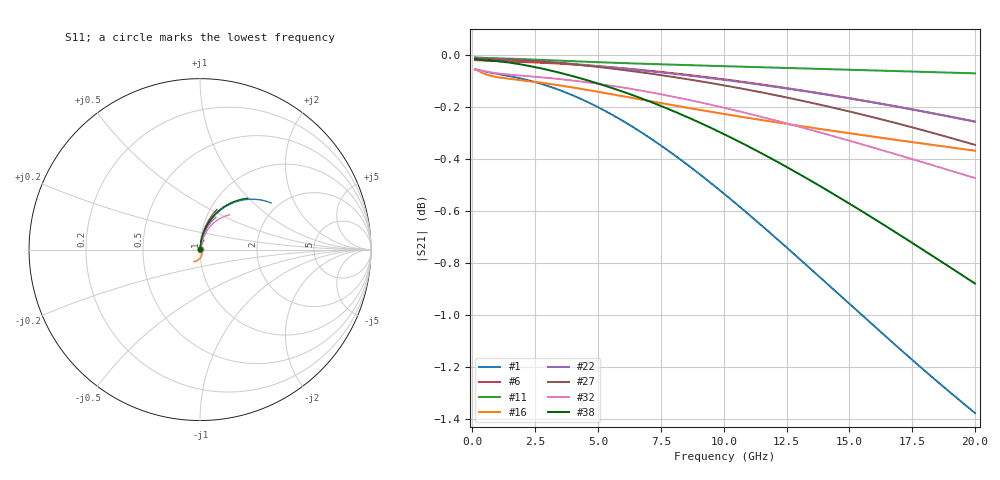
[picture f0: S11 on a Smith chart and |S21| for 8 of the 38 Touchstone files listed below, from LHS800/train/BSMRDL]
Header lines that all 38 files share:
! Touchstone file exported from HFSS 2026.1.0
!  Design:  BSMRDL
! Variables:
! Terminal data exported
# GHz S MA R 50.000000
Fixed: h_ox = 20um, h_rdl = 5um, h_sub = 80um, h_tmrdl = 5um, h_tsv = 80um, h_via = 3um, l_tmrdl = 200um, m_sub = 200um, r_tsv = 6um, s_tmrdl = 10um, w_sub = 500um, w_tmrdl = 12um, x_tsv_center1 = 206um
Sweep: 100 MHz to 20 GHz
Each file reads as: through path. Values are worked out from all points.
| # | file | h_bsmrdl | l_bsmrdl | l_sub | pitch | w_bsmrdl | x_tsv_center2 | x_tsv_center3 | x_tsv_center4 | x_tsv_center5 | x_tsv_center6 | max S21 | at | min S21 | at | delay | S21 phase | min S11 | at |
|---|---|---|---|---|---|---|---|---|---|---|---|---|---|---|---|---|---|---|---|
| 1 | dut860.s2p | 2.54um | 830.28um | 1230.28um | 46.02um | 19.18um | 1055.46um | 1267.46um | 2116.92um | 2328.92um | 3178.38um | -0.05 dB | 100 MHz | -1.4 dB | 20 GHz | 7.68 ps | -30 deg at 10.1 GHz | -42.9 dB | 100 MHz |
| 2 | dut861.s2p | 2.55um | 182.4um | 582.4um | 34.59um | 25.19um | 413.59um | 625.59um | 833.18um | 1045.18um | 1252.77um | -0.01 dB | 100 MHz | -0.1 dB | 20 GHz | 1.7 ps | -6 deg at 10.1 GHz | -56.8 dB | 100 MHz |
| 3 | dut862.s2p | 3.62um | 784.7um | 1184.7um | 20.04um | 17.98um | 1008.68um | 1220.68um | 2023.36um | 2235.36um | 3038.04um | -0.04 dB | 100 MHz | -0.4 dB | 20 GHz | 6.2 ps | -23 deg at 10.1 GHz | -46.9 dB | 100 MHz |
| 4 | dut863.s2p | 5.04um | 118.75um | 518.75um | 35.51um | 11.69um | 336.44um | 548.44um | 678.88um | 890.88um | 1021.32um | -0.01 dB | 100 MHz | -0.1 dB | 20 GHz | 1.42 ps | -5 deg at 10.1 GHz | -59.6 dB | 100 MHz |
| 5 | dut864.s2p | 2.96um | 553.23um | 953.23um | 32.63um | 22.12um | 781.35um | 993.35um | 1568.7um | 1780.7um | 2356.05um | -0.03 dB | 100 MHz | -0.3 dB | 20 GHz | 4.68 ps | -17 deg at 10.1 GHz | -49.0 dB | 100 MHz |
| 6 | dut865.s2p | 2.89um | 252.57um | 652.57um | 39.47um | 16.61um | 475.18um | 687.18um | 956.36um | 1168.36um | 1437.54um | -0.02 dB | 100 MHz | -0.3 dB | 20 GHz | 2.76 ps | -10 deg at 10.1 GHz | -52.4 dB | 100 MHz |
| 7 | dut866.s2p | 2.36um | 333.55um | 733.55um | 40.1um | 23.99um | 563.54um | 775.54um | 1133.08um | 1345.08um | 1702.62um | -0.02 dB | 100 MHz | -0.2 dB | 20 GHz | 3.2 ps | -12 deg at 10.1 GHz | -51.4 dB | 100 MHz |
| 8 | dut867.s2p | 2.37um | 921.18um | 1321.18um | 53.61um | 27.97um | 1155.15um | 1367.15um | 2316.3um | 2528.3um | 3477.45um | -0.05 dB | 100 MHz | -1.1 dB | 20 GHz | 8.18 ps | -32 deg at 10.1 GHz | -44.0 dB | 100 MHz |
| 9 | dut868.s2p | 4.22um | 467.93um | 867.93um | 33.89um | 14.4um | 688.33um | 900.33um | 1382.66um | 1594.66um | 2076.99um | -0.02 dB | 100 MHz | -0.5 dB | 20 GHz | 4.42 ps | -17 deg at 10.1 GHz | -49.4 dB | 100 MHz |
| 10 | dut869.s2p | 4.76um | 113.53um | 513.53um | 59.38um | 29.66um | 349.19um | 561.19um | 704.38um | 916.38um | 1059.57um | 0.00 dB | 100 MHz | -0.1 dB | 20 GHz | 1.49 ps | -5 deg at 10.1 GHz | -62.2 dB | 100 MHz |
| 11 | dut870.s2p | 5.74um | 274.75um | 674.75um | 36.53um | 26.68um | 507.43um | 719.43um | 1020.86um | 1232.86um | 1534.29um | -0.01 dB | 100 MHz | -0.1 dB | 20 GHz | 2.3 ps | -8 deg at 10.1 GHz | -60.2 dB | 100 MHz |
| 12 | dut871.s2p | 4.16um | 595.69um | 995.69um | 41.74um | 12.4um | 814.09um | 1026.09um | 1634.18um | 1846.18um | 2454.27um | -0.04 dB | 100 MHz | -1.1 dB | 20 GHz | 5.96 ps | -23 deg at 10.1 GHz | -45.9 dB | 100 MHz |
| 13 | dut872.s2p | 5.79um | 827.93um | 1227.93um | 27.01um | 19.9um | 1053.83um | 1265.83um | 2113.66um | 2325.66um | 3173.49um | -0.02 dB | 100 MHz | -0.2 dB | 20 GHz | 6.35 ps | -23 deg at 10.1 GHz | -50.3 dB | 100 MHz |
| 14 | dut873.s2p | 2.96um | 129.41um | 529.41um | 35.15um | 26.06um | 361.47um | 573.47um | 728.94um | 940.94um | 1096.41um | -0.01 dB | 100 MHz | 0.0 dB | 20 GHz | 1.24 ps | -5 deg at 10.1 GHz | -60.3 dB | 100 MHz |
| 15 | dut874.s2p | 3.06um | 697.11um | 1097.11um | 48.87um | 28.24um | 931.35um | 1143.35um | 1868.7um | 2080.7um | 2806.05um | -0.03 dB | 100 MHz | -0.6 dB | 20 GHz | 6.26 ps | -24 deg at 10.1 GHz | -48.1 dB | 100 MHz |
| 16 | dut875.s2p | 4.12um | 933.44um | 1333.44um | 16.09um | 13.24um | 1152.68um | 1364.68um | 2311.36um | 2523.36um | 3470.04um | -0.05 dB | 100 MHz | -0.4 dB | 20 GHz | 7.09 ps | -26 deg at 10.1 GHz | -44.1 dB | 100 MHz |
| 17 | dut876.s2p | 2.54um | 127.08um | 527.08um | 49.86um | 24.33um | 357.41um | 569.41um | 720.82um | 932.82um | 1084.23um | -0.01 dB | 100 MHz | -0.1 dB | 20 GHz | 1.65 ps | -6 deg at 10.1 GHz | -57.8 dB | 100 MHz |
| 18 | dut877.s2p | 2.19um | 399.99um | 799.99um | 31.69um | 27.47um | 633.46um | 845.46um | 1272.92um | 1484.92um | 1912.38um | -0.02 dB | 100 MHz | -0.1 dB | 20 GHz | 3.23 ps | -12 deg at 10.1 GHz | -50.9 dB | 100 MHz |
| 19 | dut878.s2p | 3.55um | 849.79um | 1249.79um | 40.71um | 14.77um | 1070.56um | 1282.56um | 2147.12um | 2359.12um | 3223.68um | -0.05 dB | 100 MHz | -1.5 dB | 20 GHz | 7.74 ps | -31 deg at 10.1 GHz | -43.2 dB | 100 MHz |
| 20 | dut879.s2p | 5.5um | 562.01um | 962.01um | 29.97um | 23.25um | 791.26um | 1003.26um | 1588.52um | 1800.52um | 2385.78um | -0.02 dB | 100 MHz | -0.1 dB | 20 GHz | 4.37 ps | -16 deg at 10.1 GHz | -54.1 dB | 100 MHz |
| 21 | dut880.s2p | 2.92um | 602.68um | 1002.68um | 57.39um | 21.43um | 830.11um | 1042.11um | 1666.22um | 1878.22um | 2502.33um | -0.03 dB | 100 MHz | -1.1 dB | 20 GHz | 6.17 ps | -24 deg at 10.1 GHz | -46.5 dB | 100 MHz |
| 22 | dut881.s2p | 4.98um | 348.64um | 748.64um | 49.61um | 25.74um | 580.38um | 792.38um | 1166.76um | 1378.76um | 1753.14um | -0.01 dB | 100 MHz | -0.3 dB | 20 GHz | 3.41 ps | -13 deg at 10.1 GHz | -55.2 dB | 100 MHz |
| 23 | dut882.s2p | 3.92um | 213.82um | 613.82um | 26.96um | 18.21um | 438.03um | 650.03um | 882.06um | 1094.06um | 1326.09um | -0.01 dB | 100 MHz | -0.1 dB | 20 GHz | 1.85 ps | -7 deg at 10.1 GHz | -57.3 dB | 100 MHz |
| 24 | dut883.s2p | 2.39um | 249.7um | 649.7um | 20.36um | 14.29um | 469.99um | 681.99um | 945.98um | 1157.98um | 1421.97um | -0.02 dB | 100 MHz | -0.1 dB | 20 GHz | 2.11 ps | -8 deg at 10.1 GHz | -50.7 dB | 100 MHz |
| 25 | dut884.s2p | 3.84um | 191.49um | 591.49um | 50.42um | 28.82um | 426.31um | 638.31um | 858.62um | 1070.62um | 1290.93um | -0.01 dB | 100 MHz | -0.1 dB | 20 GHz | 2.05 ps | -8 deg at 10.1 GHz | -58.8 dB | 100 MHz |
| 26 | dut885.s2p | 3.03um | 603.27um | 1003.27um | 52.14um | 22.83um | 832.1um | 1044.1um | 1670.2um | 1882.2um | 2508.3um | -0.03 dB | 100 MHz | -0.9 dB | 20 GHz | 5.92 ps | -23 deg at 10.1 GHz | -47.4 dB | 100 MHz |
| 27 | dut886.s2p | 4.66um | 248.82um | 648.82um | 52.55um | 15.65um | 470.47um | 682.47um | 946.94um | 1158.94um | 1423.41um | -0.01 dB | 100 MHz | -0.3 dB | 20 GHz | 3.01 ps | -11 deg at 10.1 GHz | -54.1 dB | 100 MHz |
| 28 | dut887.s2p | 3.41um | 732.5um | 1132.5um | 29.51um | 24.04um | 962.54um | 1174.54um | 1931.08um | 2143.08um | 2899.62um | -0.03 dB | 100 MHz | -0.2 dB | 20 GHz | 5.73 ps | -21 deg at 10.1 GHz | -48.8 dB | 100 MHz |
| 29 | dut888.s2p | 5.22um | 542.06um | 942.06um | 37.01um | 21.28um | 769.34um | 981.34um | 1544.68um | 1756.68um | 2320.02um | -0.02 dB | 100 MHz | -0.3 dB | 20 GHz | 4.67 ps | -17 deg at 10.1 GHz | -52.2 dB | 100 MHz |
| 30 | dut889.s2p | 3.3um | 212.1um | 612.1um | 20.39um | 11.15um | 429.25um | 641.25um | 864.5um | 1076.5um | 1299.75um | -0.02 dB | 100 MHz | -0.1 dB | 20 GHz | 1.91 ps | -7 deg at 10.1 GHz | -52.8 dB | 100 MHz |
| 31 | dut890.s2p | 3.85um | 849.21um | 1249.21um | 11.56um | 10.37um | 1065.58um | 1277.58um | 2137.16um | 2349.16um | 3208.74um | -0.07 dB | 100 MHz | -1.0 dB | 20 GHz | 7.18 ps | -27 deg at 10.1 GHz | -42.4 dB | 100 MHz |
| 32 | dut891.s2p | 2.47um | 588.1um | 988.1um | 23.43um | 13.42um | 807.52um | 1019.52um | 1621.04um | 1833.04um | 2434.56um | -0.06 dB | 100 MHz | -0.5 dB | 20 GHz | 5.06 ps | -19 deg at 10.1 GHz | -43.6 dB | 100 MHz |
| 33 | dut894.s2p | 2.47um | 301.64um | 701.64um | 37.28um | 15.08um | 522.72um | 734.72um | 1051.44um | 1263.44um | 1580.16um | -0.03 dB | 100 MHz | -0.4 dB | 20 GHz | 3.26 ps | -12 deg at 10.1 GHz | -49.3 dB | 100 MHz |
| 34 | dut895.s2p | 2.42um | 174.91um | 574.91um | 43.72um | 29.28um | 410.19um | 622.19um | 826.38um | 1038.38um | 1242.57um | -0.01 dB | 100 MHz | -0.1 dB | 20 GHz | 1.8 ps | -7 deg at 10.1 GHz | -57.0 dB | 100 MHz |
| 35 | dut896.s2p | 2.07um | 216.33um | 616.33um | 37.98um | 19.58um | 441.91um | 653.91um | 889.82um | 1101.82um | 1337.73um | -0.02 dB | 100 MHz | -0.2 dB | 20 GHz | 2.33 ps | -9 deg at 10.1 GHz | -52.2 dB | 100 MHz |
| 36 | dut897.s2p | 5.8um | 790.46um | 1190.46um | 31.64um | 16.18um | 1012.64um | 1224.64um | 2031.28um | 2243.28um | 3049.92um | -0.03 dB | 100 MHz | -0.6 dB | 20 GHz | 6.56 ps | -25 deg at 10.1 GHz | -48.2 dB | 100 MHz |
| 37 | dut898.s2p | 5.06um | 420.02um | 820.02um | 38.38um | 14.02um | 640.04um | 852.04um | 1286.08um | 1498.08um | 1932.12um | -0.02 dB | 100 MHz | -0.5 dB | 20 GHz | 4.16 ps | -16 deg at 10.1 GHz | -50.9 dB | 100 MHz |
| 38 | dut899.s2p | 5.86um | 586.29um | 986.29um | 59.8um | 22.37um | 814.66um | 1026.66um | 1635.32um | 1847.32um | 2455.98um | -0.02 dB | 100 MHz | -0.9 dB | 20 GHz | 5.79 ps | -22 deg at 10.1 GHz | -49.9 dB | 100 MHz |
